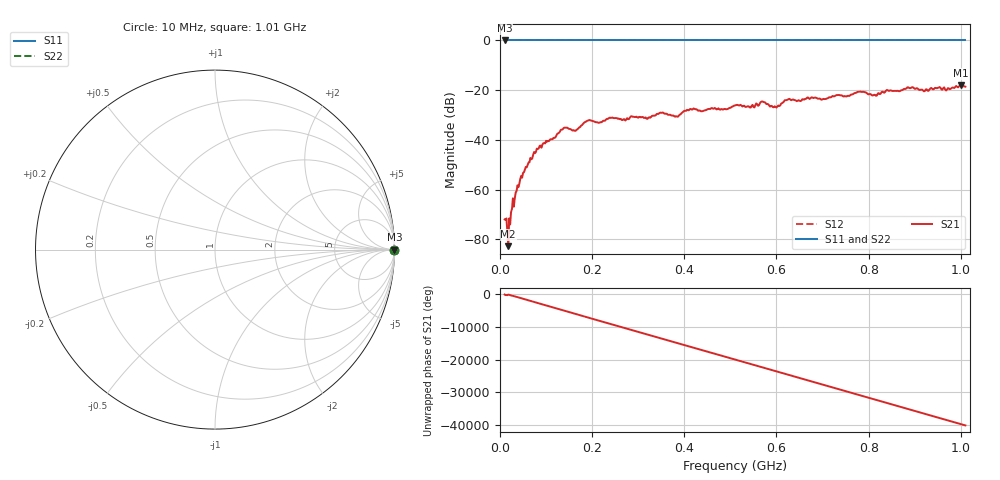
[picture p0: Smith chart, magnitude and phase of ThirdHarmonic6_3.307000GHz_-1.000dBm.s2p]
! 8/17/2025 10:19:40 AM
! C:\ANRITSUVNA\TEMP\TEMP.S2P
! CHANNEL.1
! TR.MEASUREMENT
! RAW.DATA
! RF.CORRECTION.OFF
! AVERAGING.OFF
! IF.BANDWIDTH: 5KHZ
! SWEEPTYPE:  FREQ.SWEEP(Linear)
! Reference Plane Port Info
! PORT:  PORT1  PORT2
! DISTANCE:  0  m  0  m
! TIME:  0  s  0  s
! PHASE.OFFSET:  0  deg.  0  deg.
! LOSS:  0  dB  0  dB
! REF.LOSS:  0  dB  0  dB
! REF.FREQ:  0  Hz  0  Hz
! Power Info
! POWER:  -20  dBm  -20  dBm
! EFF.POWER:  -20  dBm  -20  dBm
! SOURCE.ATTEN:  0  dB  0  dB
! TEST.ATTEN:  0  dB  0  dB
# GHZ S RI R 50.0
! FREQ.GHZ  S11RE  S11IM  S21RE  S21IM  S12RE  S12IM  S22RE  S22IM
!; PortSelection: Port_12
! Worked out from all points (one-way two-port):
!   501 points, 10 MHz to 1.01 GHz, reference 50 ohm
!   highest |S21| = -18.03 dB at 1 GHz (marker M1); lowest = -82.7 dB at 18 MHz (marker M2)
!   lowest |S11| = 0.0 dB at 10 MHz (marker M3)
!   |S11| at or under -10 dB: nowhere
!   |S22| runs from 0.0 to 0.0 dB; largest |S21 - S12| = 1.1
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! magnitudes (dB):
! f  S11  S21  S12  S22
! 10 MHz  0.0  -72.0  0.0  0.0
! 18 MHz  0.0  -82.7  0.0  0.0
! 42 MHz  0.0  -57.6  0.0  0.0
! 76 MHz  0.0  -45.3  0.0  0.0
! 136 MHz  0.0  -35.8  0.0  0.0
! 162 MHz  0.0  -36.3  0.0  0.0
! 178 MHz  0.0  -34.0  0.0  0.0
! 192 MHz  0.0  -32.1  0.0  0.0
! 322 MHz  0.0  -31.1  0.0  0.0
! 344 MHz  0.0  -29.5  0.0  0.0
! 384 MHz  0.0  -30.6  0.0  0.0
! 416 MHz  0.0  -27.8  0.0  0.0
! 510 MHz  0.0  -26.1  0.0  0.0
! 570 MHz  0.0  -24.5  0.0  0.0
! 596 MHz  0.0  -26.5  0.0  0.0
! 624 MHz  0.0  -23.8  0.0  0.0
! 678 MHz  0.0  -22.9  0.0  0.0
! 780 MHz  0.0  -20.6  0.0  0.0
! 814 MHz  0.0  -21.9  0.0  0.0
! 844 MHz  0.0  -20.3  0.0  0.0
! 1 GHz  0.0  -18.0  0.0  0.0
! 1.01 GHz  0.0  -18.6  0.0  0.0
